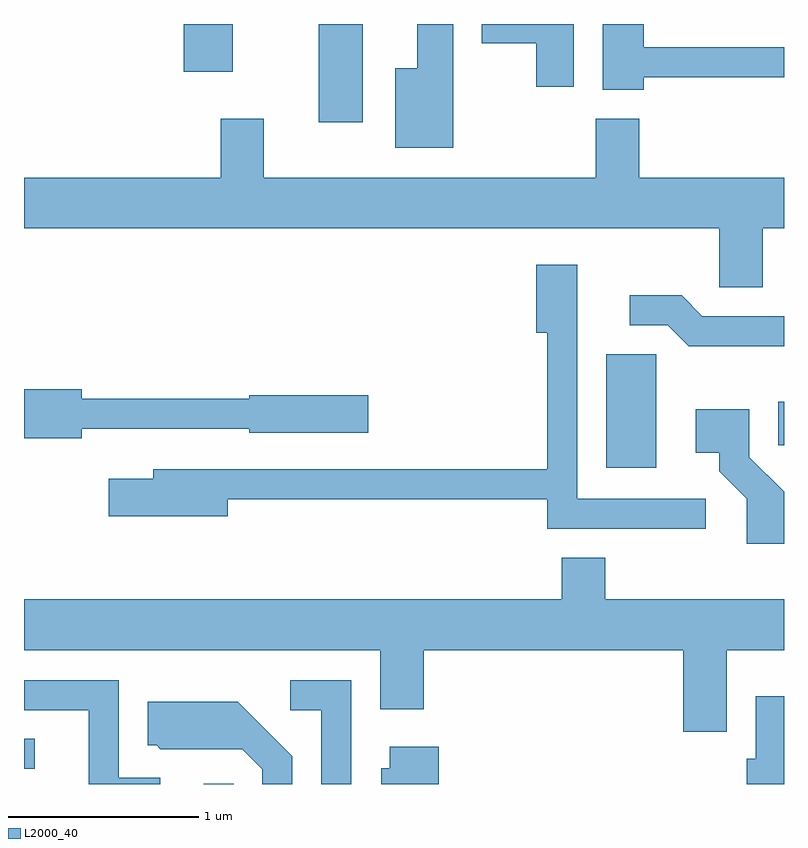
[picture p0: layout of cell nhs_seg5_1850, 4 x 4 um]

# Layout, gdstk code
import gdstk
lib = gdstk.Library(unit=1e-6, precision=1e-09)
def R(c, l, rs):  # rectangles x0, y0, x1, y1
    for r in rs: c.add(gdstk.rectangle(r[:2], r[2:], *l))
def P(c, l, *ps):  # polygons
    for p in ps: c.add(gdstk.Polygon(p, *l))
L2000_40 = (2000, 40)

nhs_seg5_1850 = lib.new_cell('nhs_seg5_1850')
R(nhs_seg5_1850, L2000_40, [(240.556,1476.072,240.714,1476.073), (239.611,1476.151,239.668,1476.309), (242.676,1477.736,242.939,1478.334), (243.581,1477.856,243.611,1478.084), (241.161,1479.556,241.394,1480.072), (240.451,1479.821,240.709,1480.072)])
P(nhs_seg5_1850, L2000_40, [(241.869,1480.072),(241.681,1480.072),(241.681,1479.839),(241.566,1479.839),(241.566,1479.421),(241.869,1479.421)],
  [(242.874,1479.791),(243.611,1479.791),(243.611,1479.949),(242.874,1479.949),(242.874,1480.072),(242.656,1480.072),(242.656,1479.726),(242.874,1479.726)],
  [(242.504,1480.072),(242.021,1480.072),(242.021,1479.971),(242.306,1479.971),(242.306,1479.741),(242.504,1479.741)],
  [(243.499,1478.996),(243.611,1478.996),(243.611,1479.264),(242.849,1479.264),(242.849,1479.574),(242.621,1479.574),(242.621,1479.264),(240.874,1479.264),(240.874,1479.574),(240.646,1479.574),(240.646,1479.264),(239.611,1479.264),(239.611,1478.996),(243.271,1478.996),(243.271,1478.686),(243.499,1478.686)],
  [(243.198,1477.574),(242.524,1477.574),(242.524,1478.804),(242.306,1478.804),(242.306,1478.446),(242.366,1478.446),(242.366,1477.729),(240.291,1477.729),(240.291,1477.679),(240.056,1477.679),(240.056,1477.481),(240.684,1477.481),(240.684,1477.571),(242.366,1477.571),(242.366,1477.416),(243.198,1477.416)],
  [(243.611,1478.534),(243.182,1478.534),(243.072,1478.644),(242.798,1478.644),(242.798,1478.486),(242.999,1478.486),(243.109,1478.376),(243.611,1478.376)],
  [(239.914,1477.941),(240.796,1477.941),(240.796,1477.921),(241.424,1477.921),(241.424,1478.119),(240.796,1478.119),(240.796,1478.099),(239.914,1478.099),(239.914,1478.149),(239.611,1478.149),(239.611,1477.891),(239.914,1477.891)],
  [(243.611,1477.61),(243.429,1477.792),(243.429,1478.044),(243.146,1478.044),(243.146,1477.816),(243.271,1477.816),(243.271,1477.719),(243.416,1477.574),(243.416,1477.336),(243.611,1477.336)],
  [(243.309,1476.776),(243.611,1476.776),(243.611,1477.044),(242.669,1477.044),(242.669,1477.264),(242.441,1477.264),(242.441,1477.044),(239.611,1477.044),(239.611,1476.776),(241.486,1476.776),(241.486,1476.466),(241.714,1476.466),(241.714,1476.776),(243.081,1476.776),(243.081,1476.346),(243.309,1476.346)],
  [(241.334,1476.619),(241.013,1476.619),(241.013,1476.461),(241.176,1476.461),(241.176,1476.072),(241.334,1476.072)],
  [(240.329,1476.104),(240.109,1476.104),(240.109,1476.619),(239.611,1476.619),(239.611,1476.461),(239.951,1476.461),(239.951,1476.072),(240.329,1476.072)],
  [(243.611,1476.534),(243.461,1476.534),(243.461,1476.204),(243.416,1476.204),(243.416,1476.072),(243.611,1476.072)],
  [(241.024,1476.217),(240.737,1476.504),(240.261,1476.504),(240.261,1476.276),(240.309,1476.276),(240.329,1476.256),(240.759,1476.256),(240.866,1476.149),(240.866,1476.072),(241.024,1476.072)],
  [(241.794,1476.269),(241.536,1476.269),(241.536,1476.154),(241.491,1476.154),(241.491,1476.072),(241.794,1476.072)])

lib.write_gds('nhs_seg5_1850.gds')
